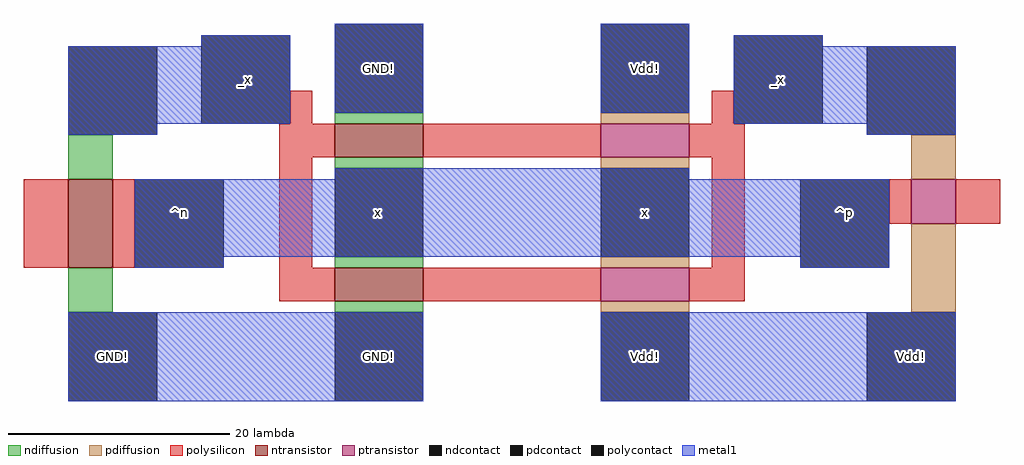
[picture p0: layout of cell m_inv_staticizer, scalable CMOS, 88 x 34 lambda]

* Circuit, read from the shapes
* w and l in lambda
.subckt m_inv_staticizer GND! Vdd! _x x
M1 _x x GND! VSUBS nfet w=4 l=8
M2 x _x GND! VSUBS nfet w=8 l=3 m=2
M3 x _x Vdd! NWELL pfet w=8 l=3 m=2
M4 _x x Vdd! NWELL pfet w=4 l=4
.ends

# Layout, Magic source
magic
tech scmos
<< ndiffusion >>
rect 104 93 112 94
rect 80 88 84 92
rect 104 89 112 90
rect 104 80 112 81
rect 80 76 84 80
rect 104 76 112 77
<< pdiffusion >>
rect 128 93 136 94
rect 128 89 136 90
rect 128 80 136 81
rect 156 88 160 92
rect 128 76 136 77
rect 156 76 160 84
<< ntransistor >>
rect 104 90 112 93
rect 80 80 84 88
rect 104 77 112 80
<< ptransistor >>
rect 128 90 136 93
rect 156 84 160 88
rect 128 77 136 80
<< polysilicon >>
rect 100 93 102 96
rect 138 93 140 96
rect 99 90 104 93
rect 112 90 128 93
rect 136 90 141 93
rect 76 80 80 88
rect 84 80 86 88
rect 99 80 102 90
rect 138 80 141 90
rect 154 84 156 88
rect 160 84 164 88
rect 99 77 104 80
rect 112 77 128 80
rect 136 77 141 80
<< ndcontact >>
rect 80 92 88 100
rect 104 94 112 102
rect 104 81 112 89
rect 80 68 88 76
rect 104 68 112 76
<< pdcontact >>
rect 128 94 136 102
rect 152 92 160 100
rect 128 81 136 89
rect 128 68 136 76
rect 152 68 160 76
<< polycontact >>
rect 92 93 100 101
rect 140 93 148 101
rect 86 80 94 88
rect 146 80 154 88
<< metal1 >>
rect 92 100 100 101
rect 80 93 100 100
rect 104 94 112 102
rect 128 94 136 102
rect 140 100 148 101
rect 140 93 160 100
rect 80 92 88 93
rect 152 92 160 93
rect 104 88 136 89
rect 86 81 154 88
rect 86 80 94 81
rect 146 80 154 81
rect 80 68 112 76
rect 128 68 160 76
<< labels >>
rlabel ndcontact 108 85 108 85 1 x
rlabel pdcontact 132 85 132 85 1 x
rlabel ndcontact 108 72 108 72 1 GND!
rlabel pdcontact 132 72 132 72 1 Vdd!
rlabel pdcontact 132 98 132 98 5 Vdd!
rlabel ndcontact 108 98 108 98 5 GND!
rlabel metal1 84 72 84 72 1 GND!
rlabel metal1 156 72 156 72 1 Vdd!
rlabel space 75 67 105 103 7 ^n
rlabel space 135 67 165 103 3 ^p
rlabel metal1 144 97 144 97 5 _x
rlabel metal1 96 97 96 97 5 _x
<< end >>
